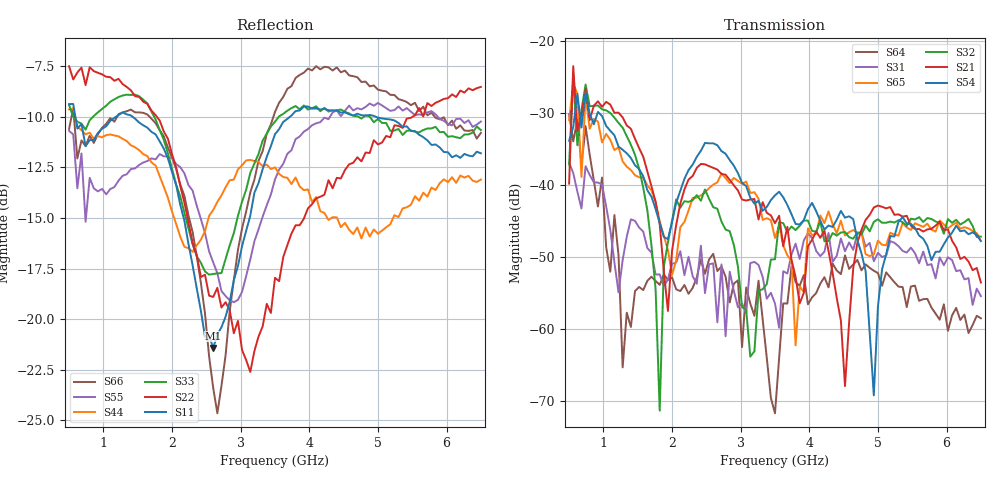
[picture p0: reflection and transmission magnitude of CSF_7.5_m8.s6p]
!Keysight Technologies,M9804A,MY58100912,A.14.10.03
!Date: Thursday, April 27, 2023 10:28:33
!Correction: S11(C  6-Port  )
!S12(C  6-Port  )
!S13(C  6-Port  )
!S14(C  6-Port  )
!S15(C  6-Port  )
!S16(C  6-Port  )
!S21(C  6-Port  )
!S22(C  6-Port  )
!S23(C  6-Port  )
!S24(C  6-Port  )
!S25(C  6-Port  )
!S26(C  6-Port  )
!S31(C  6-Port  )
!S32(C  6-Port  )
!S33(C  6-Port  )
!S34(C  6-Port  )
!S35(C  6-Port  )
!S36(C  6-Port  )
!S41(C  6-Port  )
!S42(C  6-Port  )
!S43(C  6-Port  )
!S44(C  6-Port  )
!S45(C  6-Port  )
!S46(C  6-Port  )
!S51(C  6-Port  )
!S52(C  6-Port  )
!S53(C  6-Port  )
!S54(C  6-Port  )
!S55(C  6-Port  )
!S56(C  6-Port  )
!S61(C  6-Port  )
!S62(C  6-Port  )
!S63(C  6-Port  )
!S64(C  6-Port  )
!S65(C  6-Port  )
!S66(C  6-Port  )
!S6P File: Measurement: :
# Hz S  RI  R 50
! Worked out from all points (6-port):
!   101 points, 500 MHz to 6.5 GHz, reference 50 ohm
!   strongest paths, dB at 500 MHz, 2 GHz, 3.5 GHz, 5 GHz, 6.5 GHz:
!     S54: -33.8, -45.1, -41.4, -56.9, -47.8
!     S21: -39.8, -49.1, -45.3, -42.8, -53.5
!     S32: -37.1, -45.0, -50.3, -44.7, -47.1
!     S65: -31.0, -52.5, -47.3, -47.7, -47.7
!     S31: -36.9, -50.9, -56.4, -49.4, -55.4
!     S64: -30.1, -52.8, -71.7, -52.2, -58.5
!   lowest |S11| = -21.4 dB at 2.6 GHz (marker M1), VSWR 1.19, Z = 42.5 + j2.25 ohm
!   |S11| at or under -10 dB: 591.4 MHz to 1.181 GHz (589.4 MHz wide, 66.5 % of centre); 1.427 GHz to 3.716 GHz (2.289 GHz wide, 89 % of centre); 4.973 GHz to end of sweep
